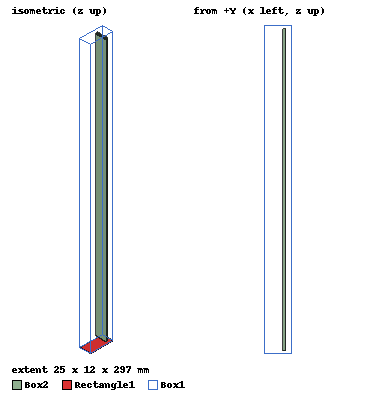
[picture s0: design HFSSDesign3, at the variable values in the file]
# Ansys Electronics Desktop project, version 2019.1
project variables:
  $er = 10
  $Ms = 0.15tesla
  $fe = 9.4GHz
  $sig = 0
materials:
  vacuum: permittivity=1
  ferrite: permittivity=$er permeability=1 conductivity=$sig electric_coercivity{Magnitude=0 DirComp1=1 DirComp2=0 DirComp3=0} saturation_mag=$Ms delta_H_freq=$fe+09 inverse_magnetostriction{PropertyModelType=0 Dir1ModelType=0 IsoCoeff=0 IsoSigmaMax=0megPascal IsoSigmaMin=0megPascal Dir1Coeff=0 Dir1SigmaMax=0megPascal Dir1SigmaMin=0megPascal Dir1VecX=1 Dir1VecY=0 Dir1VecZ=0 Magnetostriction{Isotropic{OneVariation{DatasetMapsName="B-H curves versus Stress"} OneVariation{DatasetMapsName="B-Sigma curves versus H"}} Direction1{OneVariation{DatasetMapsName="B-H curves versus Stress"} OneVariation{DatasetMapsName="B-Sigma curves versus H"}} SelectedDatasetMapsName="B-H curves versus Stress"}}

design HFSSDesign3 (HFSS, DrivenModal, model units mm)
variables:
  a = 25mm
  b = 12mm
  l = 300mm
  c = 6mm
  t = 2mm
  lf = 3mm
  Hb = 120000
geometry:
  Box1 [vacuum] = box(corner=(0mm, 0mm, 0mm), size=(a, b, l))
  Box2 [ferrite] = box(corner=(c, 0mm, lf), size=(t, b, l-lf*2))
  Rectangle1 = rectangle(corner=(0mm, 12mm, 0mm), x_size=25mm, y_size=-12mm)
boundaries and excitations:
  MagBias1: Magnetic Bias Objects=Box2 IsUniformBias Bias=Hb XAngle=-90deg YAngle=0deg ZAngle=0deg PathRelativeTo=TargetProject MKSBias=Hb
  1: Wave Port Faces=Rectangle1.face NumModes=1 DeembedDist=lf Modes{Mode1{IntLine{middle of Rectangle1.edge(y opposite corner) -> middle of Rectangle1.edge(y at corner)} CharImp=Zpi}}
  2: Wave Port Faces=Box1.face(+z) NumModes=1 DeembedDist=lf Modes{Mode1{IntLine{middle of Box1.edge(4 of 12) -> middle of Box1.edge(2 of 12)} CharImp=Zpi}}
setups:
  Setup1: HfssDriven Frequency=9.4GHz MaxDeltaS=0.02 MaximumPasses=6 MinimumPasses=1 MinimumConvergedPasses=1 PercentRefinement=30 BasisOrder=1 PortAccuracy=2
    sweep Sweep: 8GHz to 10GHz step 0.02GHz; Type=Interpolating InterpTolerance=0.5 InterpMaxSolns=250 InterpUsePortImped=false PassivityErrorTolerance=0.0001
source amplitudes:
  1:1: 1W 0deg
  2:1: 0W 0deg
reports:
  S Parameter Plot 1: dB(S(1,1)) vs Freq on Setup1 : Sweep [l=300mm c=6mm t=2mm lf=3mm Hb=all $Ms=0.15]
  S Parameter Plot 2: dB(S(2,1)) vs Freq on Setup1 : Sweep [l=300mm c=6mm t=2mm lf=3mm Hb=all $Ms=0.15]
  S Parameter Plot 3: cang_deg(S(2,1)) vs Freq on Setup1 : Sweep [l=300mm c=6mm t=2mm lf=3mm Hb=all $Ms=0.15]; markers m2 at 8.8GHz, m3 at 9GHz, m4 at 9GHz, m5 at 9GHz, m6 at 9GHz, m7 at 9GHz
  S Parameter Plot 4: ang_deg(S(2,1)) vs Freq on Setup1 : Sweep [l=300mm c=6mm t=2mm lf=3mm Hb=all $Ms=0.15]; markers m1 at 9GHz, m2 at 9GHz, m3 at 9GHz, m4 at 9GHz
